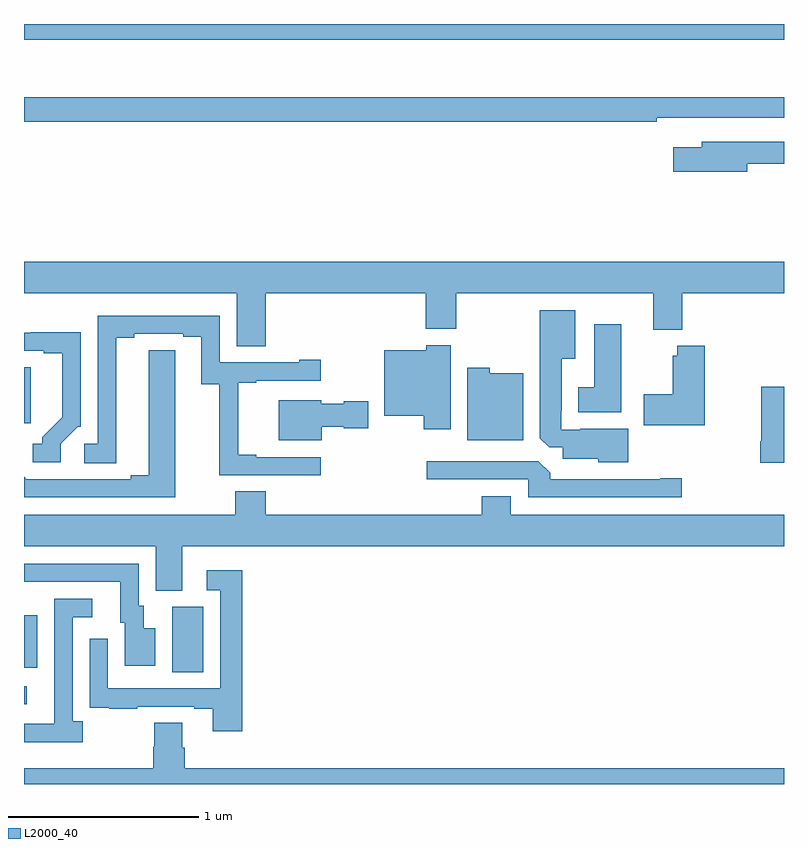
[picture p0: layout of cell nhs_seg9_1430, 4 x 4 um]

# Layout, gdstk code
import gdstk
lib = gdstk.Library(unit=1e-6, precision=1e-09)
def R(c, l, rs):  # rectangles x0, y0, x1, y1
    for r in rs: c.add(gdstk.rectangle(r[:2], r[2:], *l))
def P(c, l, *ps):  # polygons
    for p in ps: c.add(gdstk.Polygon(p, *l))
L2000_40 = (2000, 40)

nhs_seg9_1430 = lib.new_cell('nhs_seg9_1430')
R(nhs_seg9_1430, L2000_40, [(191,1196.919,191.014,1197.015), (191.78,1197.088,191.944,1197.432), (191,1197.113,191.071,1197.388), (191,1198.4,191.035,1198.694), (191,1200.416,195,1200.5)])
P(nhs_seg9_1430, L2000_40, [(194.33,1200.006),(195,1200.006),(195,1200.115),(191,1200.115),(191,1199.986),(194.33,1199.986)],
  [(194.806,1199.764),(195,1199.764),(195,1199.88),(194.567,1199.88),(194.567,1199.851),(194.418,1199.851),(194.418,1199.722),(194.806,1199.722)],
  [(192.272,1199.084),(193.115,1199.084),(193.115,1198.895),(193.275,1198.895),(193.275,1199.084),(194.312,1199.084),(194.312,1198.892),(194.465,1198.892),(194.465,1199.084),(195,1199.084),(195,1199.248),(191,1199.248),(191,1199.084),(192.119,1199.084),(192.119,1198.804),(192.272,1198.804)],
  [(194.179,1198.369),(193.927,1198.369),(193.927,1198.365),(193.827,1198.365),(193.827,1198.465),(193.831,1198.465),(193.831,1198.739),(193.9,1198.739),(193.9,1198.993),(193.715,1198.993),(193.715,1198.321),(193.764,1198.272),(193.835,1198.272),(193.835,1198.211),(194.022,1198.211),(194.022,1198.193),(194.179,1198.193)],
  [(192.562,1198.221),(192.223,1198.221),(192.223,1198.234),(192.128,1198.234),(192.128,1198.611),(192.223,1198.611),(192.223,1198.623),(192.562,1198.623),(192.562,1198.732),(192.449,1198.732),(192.449,1198.719),(192.03,1198.719),(192.03,1198.965),(191.388,1198.965),(191.388,1198.29),(191.316,1198.29),(191.316,1198.189),(191.485,1198.189),(191.485,1198.849),(191.581,1198.849),(191.581,1198.869),(191.837,1198.869),(191.837,1198.854),(191.933,1198.854),(191.933,1198.603),(192.028,1198.603),(192.028,1198.125),(192.562,1198.125)],
  [(194.143,1198.921),(194,1198.921),(194,1198.588),(193.916,1198.588),(193.916,1198.457),(194.143,1198.457)],
  [(191.193,1198.29),(191.283,1198.38),(191.298,1198.38),(191.298,1198.877),(191.035,1198.877),(191.035,1198.875),(191,1198.875),(191,1198.779),(191.105,1198.779),(191.105,1198.767),(191.201,1198.767),(191.201,1198.43),(191.096,1198.325),(191.096,1198.29),(191.046,1198.29),(191.046,1198.194),(191.193,1198.194)],
  [(193.246,1198.81),(193.116,1198.81),(193.116,1198.783),(192.896,1198.783),(192.896,1198.439),(193.105,1198.439),(193.105,1198.368),(193.246,1198.368)],
  [(194.582,1198.807),(194.437,1198.807),(194.437,1198.753),(194.414,1198.753),(194.414,1198.551),(194.262,1198.551),(194.262,1198.388),(194.582,1198.388)],
  [(191.797,1198.676),(191.796,1198.676),(191.796,1198.784),(191.657,1198.784),(191.657,1198.124),(191.561,1198.124),(191.561,1198.104),(191.013,1198.104),(191,1198.117),(191,1198.008),(191.797,1198.008)],
  [(193.627,1198.663),(193.452,1198.663),(193.452,1198.69),(193.334,1198.69),(193.334,1198.31),(193.627,1198.31)],
  [(195,1198.592),(194.881,1198.592),(194.881,1198.303),(194.876,1198.303),(194.876,1198.191),(195,1198.191)],
  [(192.568,1198.379),(192.684,1198.379),(192.684,1198.372),(192.811,1198.372),(192.811,1198.514),(192.684,1198.514),(192.684,1198.501),(192.564,1198.501),(192.564,1198.519),(192.341,1198.519),(192.341,1198.31),(192.568,1198.31)],
  [(194.461,1198.109),(194.348,1198.109),(194.348,1198.104),(193.769,1198.104),(193.769,1198.138),(193.707,1198.2),(193.119,1198.2),(193.119,1198.104),(193.653,1198.104),(193.653,1198.008),(194.461,1198.008)],
  [(191.833,1197.752),(195,1197.752),(195,1197.916),(193.561,1197.916),(193.561,1198.015),(193.409,1198.015),(193.409,1197.916),(192.272,1197.916),(192.272,1198.04),(192.112,1198.04),(192.112,1197.916),(191,1197.916),(191,1197.752),(191.693,1197.752),(191.693,1197.517),(191.833,1197.517)],
  [(191.692,1197.319),(191.629,1197.319),(191.629,1197.438),(191.604,1197.438),(191.604,1197.66),(191,1197.66),(191,1197.564),(191.507,1197.564),(191.507,1197.348),(191.531,1197.348),(191.531,1197.123),(191.692,1197.123)],
  [(192.149,1197.625),(191.961,1197.625),(191.961,1197.519),(192.033,1197.519),(192.033,1197.003),(191.442,1197.003),(191.442,1197.265),(191.346,1197.265),(191.346,1197.01),(191.347,1197.01),(191.347,1196.901),(191.449,1196.901),(191.449,1196.895),(191.597,1196.895),(191.597,1196.907),(191.897,1196.907),(191.897,1196.895),(191.993,1196.895),(191.993,1196.778),(192.149,1196.778)],
  [(191.308,1196.83),(191.256,1196.83),(191.256,1197.378),(191.359,1197.378),(191.359,1197.474),(191.16,1197.474),(191.16,1197.017),(191.159,1197.017),(191.159,1196.817),(191,1196.817),(191,1196.72),(191.308,1196.72)],
  [(195,1196.584),(191.846,1196.584),(191.846,1196.69),(191.833,1196.69),(191.833,1196.822),(191.686,1196.822),(191.686,1196.697),(191.681,1196.697),(191.681,1196.584),(191,1196.584),(191,1196.5),(195,1196.5)])

lib.write_gds('nhs_seg9_1430.gds')
